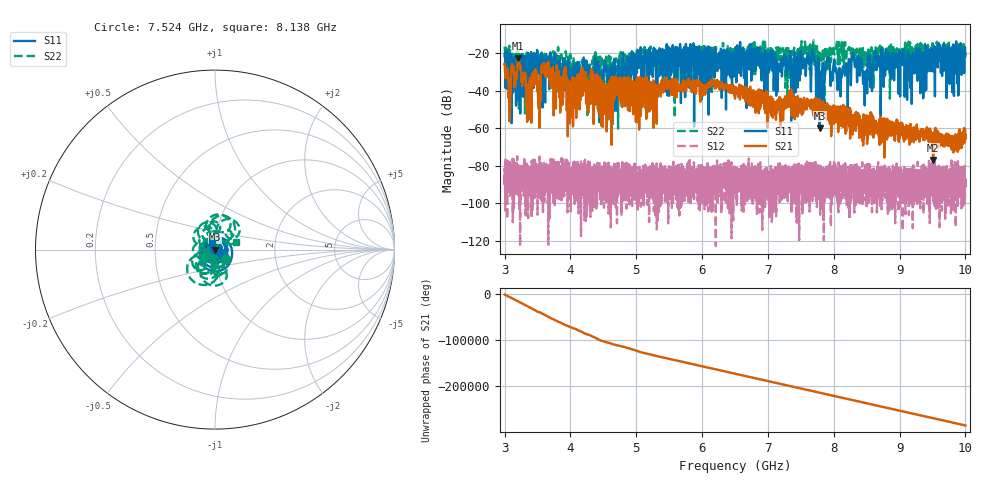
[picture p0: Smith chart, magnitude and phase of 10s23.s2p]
!Agilent Technologies,E8363B,MY43030572,A.06.04.32
!Agilent E8363B: A.06.04.32
!Date: Tuesday, June 07, 2011 09:28:28
!Correction: S11(Full 2 Port(1,2)) S21(Full 2 Port(1,2)) S12(Full 2 Port(1,2)) S22(Full 2 Port(1,2))
!S2P File: Measurements: S11, S21, S12, S22:
# Hz S  dB  R 50
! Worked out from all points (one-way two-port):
!   6401 points, 3 GHz to 10 GHz, reference 50 ohm
!   highest |S21| = -22.80 dB at 3.207 GHz (marker M1); lowest = -76.9 dB at 9.51 GHz (marker M2)
!   lowest |S11| = -59.9 dB at 7.785 GHz (marker M3), VSWR 1.00, Z = 50 - j0.101 ohm
!   |S11| at or under -10 dB: start of sweep to end of sweep
!   |S22| runs from -60.2 to -13.4 dB; largest |S21 - S12| = 0.072
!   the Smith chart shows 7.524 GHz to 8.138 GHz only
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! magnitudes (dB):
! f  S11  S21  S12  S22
! 3 GHz  -21.8  -25.7  -89.5  -16.7
! 3.066 GHz  -25.6  -40.6  -84.3  -17.4
! 3.207 GHz  -26.0  -22.8  -83.2  -19.5
! 3.373 GHz  -36.7  -42.6  -80.0  -28.6
! 3.59 GHz  -29.7  -26.6  -83.6  -25.6
! 3.978 GHz  -29.2  -36.5  -85.1  -23.7
! 4.167 GHz  -30.4  -28.8  -87.5  -26.3
! 4.541 GHz  -29.9  -38.5  -84.3  -21.2
! 4.696 GHz  -45.1  -35.3  -89.8  -23.2
! 5.13 GHz  -19.2  -38.6  -94.1  -17.7
! 5.334 GHz  -19.6  -39.4  -91.3  -25.8
! 6.5 GHz  -23.1  -44.3  -80.8  -22.2
! 7.667 GHz  -20.9  -48.2  -95.2  -16.9
! 7.785 GHz  -59.9  -44.8  -85.4  -20.1
! 7.908 GHz  -22.3  -48.4  -83.8  -28.6
! 8.083 GHz  -28.6  -53.7  -86.3  -17.7
! 8.305 GHz  -21.4  -55.4  -88.7  -18.5
! 8.475 GHz  -35.9  -55.2  -88.7  -21.5
! 8.635 GHz  -18.9  -56.5  -92.0  -18.3
! 8.834 GHz  -20.5  -59.0  -91.3  -20.1
! 9.51 GHz  -23.0  -76.9  -85.8  -16.6
! 10 GHz  -21.8  -63.6  -86.2  -20.6
